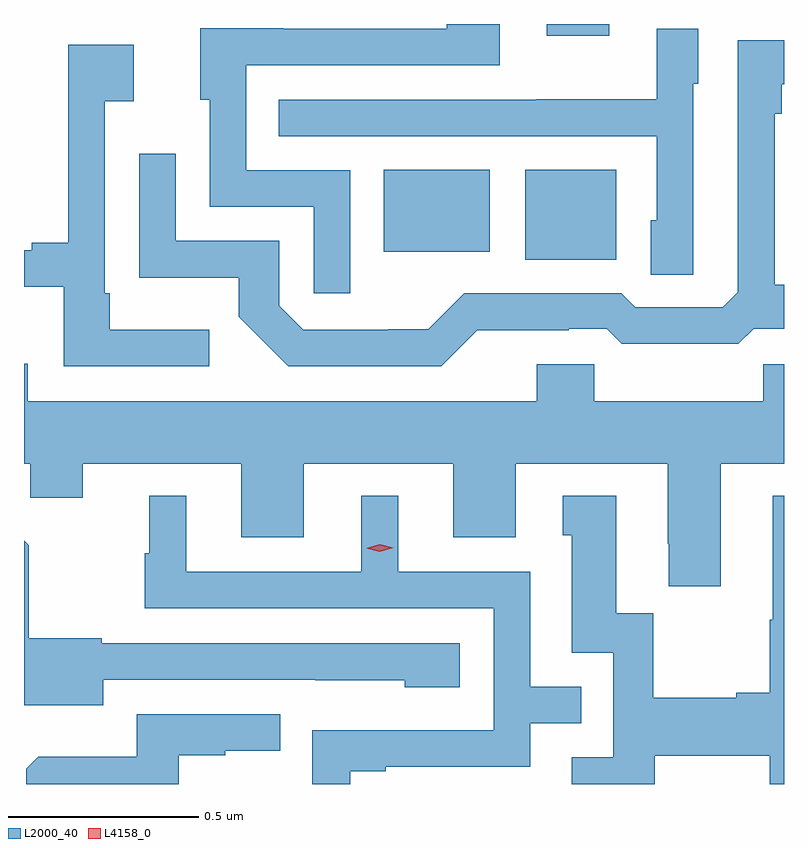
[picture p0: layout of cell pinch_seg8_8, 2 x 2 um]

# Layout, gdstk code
import gdstk
lib = gdstk.Library(unit=1e-6, precision=1e-09)
def R(c, l, rs):  # rectangles x0, y0, x1, y1
    for r in rs: c.add(gdstk.rectangle(r[:2], r[2:], *l))
def P(c, l, *ps):  # polygons
    for p in ps: c.add(gdstk.Polygon(p, *l))
L2000_40 = (2000, 40)
L4158_0 = (4158, 0)

pinch_seg8_8 = lib.new_cell('pinch_seg8_8')
R(pinch_seg8_8, L2000_40, [(1121.444,1133.021,1121.683,1133.257), (1121.072,1133.042,1121.35,1133.257), (1121.501,1133.61,1121.665,1133.641)])
P(pinch_seg8_8, L2000_40, [(1120.983,1133.256),(1120.71,1133.256),(1120.71,1133.532),(1121.377,1133.532),(1121.377,1133.641),(1121.237,1133.641),(1121.237,1133.628),(1120.807,1133.628),(1120.807,1133.63),(1120.589,1133.63),(1120.589,1133.442),(1120.614,1133.442),(1120.614,1133.16),(1120.887,1133.16),(1120.887,1132.932),(1120.983,1132.932)],
  [(1121.886,1133.484),(1121.899,1133.484),(1121.899,1133.629),(1121.79,1133.629),(1121.79,1133.443),(1121.473,1133.443),(1121.473,1133.442),(1120.795,1133.442),(1120.795,1133.346),(1121.79,1133.346),(1121.79,1133.124),(1121.774,1133.124),(1121.774,1132.981),(1121.886,1132.981)],
  [(1121.318,1132.835),(1121.558,1132.835),(1121.558,1132.839),(1121.658,1132.839),(1121.698,1132.8),(1122.005,1132.8),(1122.045,1132.839),(1122.125,1132.839),(1122.125,1132.955),(1122.1,1132.955),(1122.1,1133.405),(1122.119,1133.405),(1122.119,1133.482),(1122.125,1133.482),(1122.125,1133.598),(1122.003,1133.598),(1122.003,1132.935),(1121.964,1132.896),(1121.733,1132.896),(1121.697,1132.932),(1121.283,1132.932),(1121.189,1132.838),(1121.084,1132.838),(1121.084,1132.836),(1120.86,1132.836),(1120.797,1132.899),(1120.797,1133.07),(1120.524,1133.07),(1120.524,1133.299),(1120.428,1133.299),(1120.428,1132.973),(1120.69,1132.973),(1120.69,1132.871),(1120.82,1132.74),(1121.223,1132.74)],
  [(1120.612,1132.837),(1120.351,1132.837),(1120.351,1132.933),(1120.338,1132.933),(1120.338,1133.438),(1120.414,1133.438),(1120.414,1133.587),(1120.241,1133.587),(1120.241,1133.065),(1120.145,1133.065),(1120.145,1133.046),(1120.125,1133.046),(1120.125,1132.949),(1120.23,1132.949),(1120.23,1132.74),(1120.612,1132.74)],
  [(1121.959,1132.484),(1122.125,1132.484),(1122.125,1132.746),(1122.07,1132.746),(1122.07,1132.648),(1121.625,1132.648),(1121.625,1132.746),(1121.474,1132.746),(1121.474,1132.648),(1120.135,1132.648),(1120.135,1132.747),(1120.125,1132.747),(1120.125,1132.484),(1120.141,1132.484),(1120.141,1132.394),(1120.279,1132.394),(1120.279,1132.484),(1120.697,1132.484),(1120.697,1132.29),(1120.861,1132.29),(1120.861,1132.484),(1121.255,1132.484),(1121.255,1132.29),(1121.419,1132.29),(1121.419,1132.484),(1121.819,1132.484),(1121.819,1132.273),(1121.822,1132.273),(1121.822,1132.161),(1121.959,1132.161)],
  [(1120.983,1131.675),(1121.077,1131.675),(1121.077,1131.687),(1121.457,1131.687),(1121.457,1131.801),(1121.591,1131.801),(1121.591,1131.897),(1121.457,1131.897),(1121.457,1132.2),(1121.11,1132.2),(1121.11,1132.399),(1121.012,1132.399),(1121.012,1132.2),(1120.552,1132.2),(1120.552,1132.399),(1120.454,1132.399),(1120.454,1132.248),(1120.443,1132.248),(1120.443,1132.104),(1121.361,1132.104),(1121.361,1131.783),(1120.884,1131.783),(1120.884,1131.641),(1120.983,1131.641)],
  [(1121.785,1131.716),(1122.088,1131.716),(1122.088,1131.641),(1122.125,1131.641),(1122.125,1132.399),(1122.095,1132.399),(1122.095,1132.073),(1122.088,1132.073),(1122.088,1131.881),(1121.999,1131.881),(1121.999,1131.868),(1121.781,1131.868),(1121.781,1132.091),(1121.683,1132.091),(1121.683,1132.399),(1121.543,1132.399),(1121.543,1132.296),(1121.567,1132.296),(1121.567,1131.987),(1121.676,1131.987),(1121.676,1131.711),(1121.567,1131.711),(1121.567,1131.641),(1121.785,1131.641)],
  [(1120.333,1131.915),(1120.891,1131.915),(1120.891,1131.914),(1121.127,1131.914),(1121.127,1131.896),(1121.272,1131.896),(1121.272,1132.011),(1120.329,1132.011),(1120.329,1132.024),(1120.137,1132.024),(1120.137,1132.269),(1120.125,1132.281),(1120.125,1131.848),(1120.333,1131.848)],
  [(1120.532,1131.717),(1120.655,1131.717),(1120.655,1131.728),(1120.799,1131.728),(1120.799,1131.825),(1120.422,1131.825),(1120.422,1131.713),(1120.163,1131.713),(1120.131,1131.681),(1120.131,1131.641),(1120.532,1131.641)])
P(pinch_seg8_8, L4158_0, [(1121.061,1132.252),(1121.025,1132.262),(1121.025,1132.262),(1121.025,1132.262),(1121.061,1132.272),(1121.097,1132.263),(1121.097,1132.263),(1121.097,1132.263)])

lib.write_gds('pinch_seg8_8.gds')
